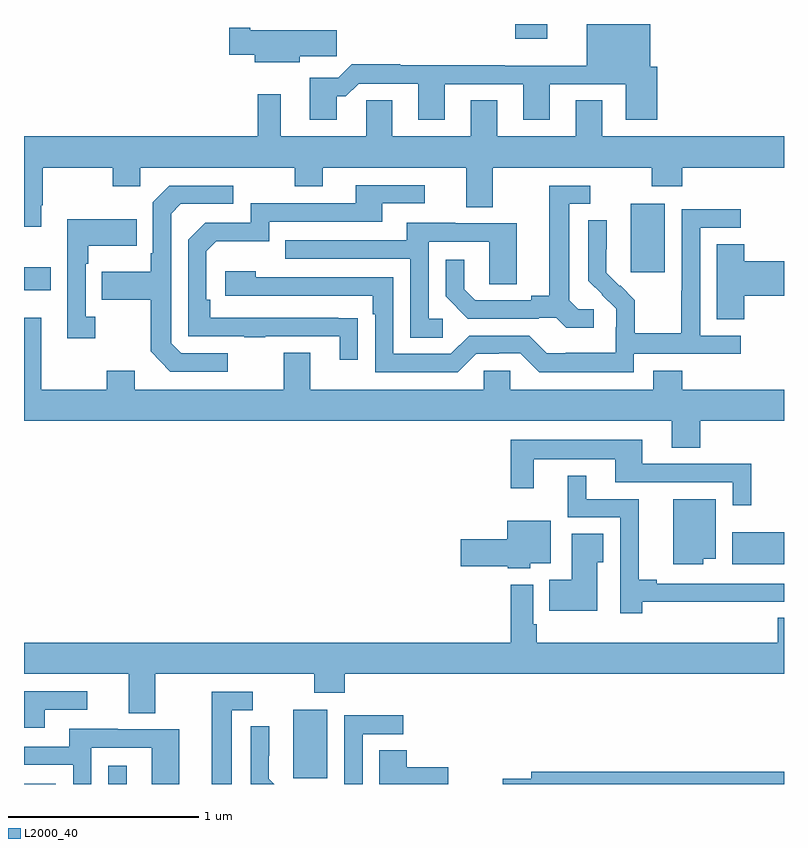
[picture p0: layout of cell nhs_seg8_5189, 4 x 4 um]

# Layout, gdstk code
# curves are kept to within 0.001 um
import gdstk
lib = gdstk.Library(unit=1e-6, precision=1e-09)
def R(c, l, rs):  # rectangles x0, y0, x1, y1
    for r in rs: c.add(gdstk.rectangle(r[:2], r[2:], *l))
def P(c, l, *ps):  # polygons
    for p in ps: c.add(gdstk.Polygon(p, *l))
L2000_40 = (2000, 40)

nhs_seg8_5189 = lib.new_cell('nhs_seg8_5189')
R(nhs_seg8_5189, L2000_40, [(423,1135.9,423.168,1135.902), (423.444,1135.9,423.541,1135.996), (424.418,1135.929,424.597,1136.29), (426.728,1137.056,427,1137.226), (423,1138.499,423.142,1138.621), (426.194,1138.593,426.373,1138.954), (425.585,1139.823,425.755,1139.9)])
P(nhs_seg8_5189, L2000_40, [(424.645,1139.519),(424.694,1139.519),(424.761,1139.586),(425.075,1139.586),(425.075,1139.397),(425.215,1139.397),(425.215,1139.583),(425.627,1139.583),(425.627,1139.397),(425.767,1139.397),(425.767,1139.583),(426.167,1139.583),(426.167,1139.397),(426.332,1139.397),(426.332,1139.676),(426.295,1139.676),(426.295,1139.9),(425.963,1139.9),(425.963,1139.68),(425.531,1139.68),(425.531,1139.684),(424.979,1139.684),(424.979,1139.687),(424.724,1139.687),(424.654,1139.617),(424.505,1139.617),(424.505,1139.397),(424.645,1139.397)],
  [(424.45,1139.731),(424.645,1139.731),(424.645,1139.866),(424.192,1139.866),(424.192,1139.879),(424.08,1139.879),(424.08,1139.737),(424.214,1139.737),(424.214,1139.699),(424.45,1139.699)],
  [(423.091,1138.945),(423.099,1138.945),(423.099,1139.144),(423.466,1139.144),(423.466,1139.045),(423.612,1139.045),(423.612,1139.144),(424.426,1139.144),(424.426,1139.045),(424.573,1139.045),(424.573,1139.144),(425.327,1139.144),(425.327,1138.936),(425.467,1138.936),(425.467,1139.144),(426.304,1139.144),(426.304,1139.045),(426.464,1139.045),(426.464,1139.144),(427,1139.144),(427,1139.308),(426.043,1139.308),(426.043,1139.498),(425.903,1139.498),(425.903,1139.308),(425.491,1139.308),(425.491,1139.498),(425.351,1139.498),(425.351,1139.308),(424.939,1139.308),(424.939,1139.498),(424.8,1139.498),(424.8,1139.308),(424.351,1139.308),(424.351,1139.53),(424.23,1139.53),(424.23,1139.308),(423,1139.308),(423,1138.833),(423.091,1138.833)],
  [(424.757,1138.352),(423.98,1138.353),(423.98,1138.45),(423.96,1138.45),(423.96,1138.704),(424.013,1138.757),(424.29,1138.757),(424.29,1138.86),(424.885,1138.86),(424.885,1138.956),(425.11,1138.956),(425.11,1139.052),(424.745,1139.052),(424.745,1138.956),(424.194,1138.956),(424.194,1138.854),(423.954,1138.854),(423.864,1138.764),(423.864,1138.257),(424.159,1138.257),(424.159,1138.252),(424.271,1138.252),(424.271,1138.257),(424.661,1138.257),(424.661,1138.134),(424.757,1138.134)],
  [(424.072,1138.167),(423.828,1138.167),(423.774,1138.221),(423.774,1138.902),(423.825,1138.953),(424.102,1138.953),(424.102,1139.049),(423.765,1139.049),(423.678,1138.962),(423.678,1138.693),(423.666,1138.693),(423.666,1138.597),(423.409,1138.597),(423.409,1138.45),(423.666,1138.45),(423.666,1138.177),(423.771,1138.071),(424.072,1138.071)],
  [(425.998,1138.398),(425.916,1138.398),(425.869,1138.445),(425.869,1138.953),(425.98,1138.953),(425.98,1139.049),(425.765,1139.049),(425.765,1138.469),(425.669,1138.469),(425.669,1138.446),(425.374,1138.446),(425.317,1138.503),(425.317,1138.66),(425.22,1138.66),(425.22,1138.466),(425.336,1138.35),(425.708,1138.35),(425.708,1138.353),(425.802,1138.353),(425.854,1138.301),(425.998,1138.301)],
  [(426.21,1138.164),(426.772,1138.164),(426.772,1138.26),(426.558,1138.26),(426.558,1138.827),(426.772,1138.827),(426.772,1138.926),(426.462,1138.926),(426.462,1138.496),(426.46,1138.496),(426.46,1138.273),(426.215,1138.273),(426.215,1138.447),(426.138,1138.524),(426.135,1138.521),(426.065,1138.592),(426.066,1138.868),(425.97,1138.868),(425.97,1138.55),(426.116,1138.402),(426.116,1138.305),(426.114,1138.305),(426.114,1138.171),(425.851,1138.171),(425.851,1138.167),(425.751,1138.167),(425.658,1138.26),(425.343,1138.26),(425.247,1138.164),(424.944,1138.164),(424.944,1138.566),(424.22,1138.566),(424.22,1138.6),(424.059,1138.6),(424.059,1138.47),(424.835,1138.47),(424.835,1138.373),(424.848,1138.373),(424.848,1138.068),(425.283,1138.068),(425.379,1138.164),(425.498,1138.164),(425.498,1138.167),(425.613,1138.167),(425.713,1138.067),(426.21,1138.067)],
  [(423.376,1138.358),(423.324,1138.358),(423.324,1138.637),(423.337,1138.637),(423.337,1138.733),(423.593,1138.733),(423.593,1138.873),(423.228,1138.873),(423.228,1138.245),(423.376,1138.245)],
  [(425.203,1138.35),(425.13,1138.35),(425.13,1138.755),(425.448,1138.755),(425.448,1138.531),(425.593,1138.531),(425.593,1138.851),(425.269,1138.851),(425.269,1138.855),(425.015,1138.855),(425.015,1138.761),(424.375,1138.761),(424.375,1138.665),(425.034,1138.665),(425.034,1138.249),(425.203,1138.249)],
  [(426.791,1138.469),(427,1138.469),(427,1138.652),(426.791,1138.652),(426.791,1138.742),(426.647,1138.742),(426.647,1138.345),(426.791,1138.345)],
  [(426.558,1137.812),(427,1137.812),(427,1137.976),(426.464,1137.976),(426.464,1138.075),(426.311,1138.075),(426.311,1137.976),(425.559,1137.976),(425.559,1138.074),(425.421,1138.074),(425.421,1137.976),(424.507,1137.976),(424.507,1138.171),(424.367,1138.171),(424.367,1137.976),(423.583,1137.976),(423.583,1138.075),(423.436,1138.075),(423.436,1137.976),(423.091,1137.976),(423.091,1138.354),(423,1138.354),(423,1137.812),(426.41,1137.812),(426.41,1137.67),(426.558,1137.67)],
  [(426.827,1137.585),(426.253,1137.585),(426.253,1137.712),(425.562,1137.712),(425.562,1137.456),(425.683,1137.456),(425.683,1137.608),(426.113,1137.608),(426.113,1137.489),(426.729,1137.489),(426.729,1137.366),(426.827,1137.366)],
  [(426.254,1136.858),(426.884,1136.858),(426.884,1136.859),(427,1136.859),(427,1136.955),(426.331,1136.955),(426.331,1136.975),(426.236,1136.975),(426.236,1137.399),(425.959,1137.399),(425.959,1137.523),(425.861,1137.523),(425.861,1137.303),(426.138,1137.303),(426.138,1136.799),(426.254,1136.799)],
  [(426.574,1137.086),(426.64,1137.086),(426.64,1137.4),(426.416,1137.4),(426.416,1137.056),(426.574,1137.056)],
  [(425.664,1137.062),(425.773,1137.062),(425.773,1137.286),(425.543,1137.286),(425.543,1137.188),(425.298,1137.188),(425.298,1137.046),(425.547,1137.046),(425.547,1137.035),(425.664,1137.035)],
  [(426.016,1137.067),(426.049,1137.067),(426.049,1137.218),(425.882,1137.218),(425.882,1136.974),(425.764,1136.974),(425.764,1136.813),(426.016,1136.813)],
  [(423.691,1136.48),(424.528,1136.48),(424.528,1136.381),(424.688,1136.381),(424.688,1136.48),(427,1136.48),(427,1136.774),(426.968,1136.774),(426.968,1136.644),(425.699,1136.644),(425.699,1136.74),(425.679,1136.74),(425.679,1136.95),(425.563,1136.95),(425.563,1136.644),(423,1136.644),(423,1136.48),(423.551,1136.48),(423.551,1136.272),(423.691,1136.272)],
  [(423.109,1136.292),(423.334,1136.292),(423.334,1136.388),(423,1136.388),(423,1136.196),(423.109,1136.196)],
  [(424.093,1136.289),(424.204,1136.289),(424.204,1136.385),(423.989,1136.385),(423.989,1135.9),(424.093,1135.9)],
  [(424.782,1136.163),(424.996,1136.163),(424.996,1136.262),(424.686,1136.262),(424.686,1135.9),(424.782,1135.9)],
  [(424.289,1135.928),(424.289,1136.05),(424.29,1136.05),(424.29,1136.204),(424.194,1136.204),(424.194,1135.9),(424.317,1135.9)],
  [(423.354,1136.091),(423.672,1136.091),(423.672,1135.9),(423.817,1135.9),(423.817,1136.187),(423.493,1136.187),(423.493,1136.191),(423.239,1136.191),(423.239,1136.097),(423,1136.097),(423,1136.001),(423.258,1136.001),(423.258,1135.9),(423.354,1135.9)],
  [(425.233,1135.988),(425.015,1135.988),(425.015,1136.078),(424.871,1136.078),(424.871,1135.9),(425.233,1135.9)],
  [(427,1135.964),(425.669,1135.964),(425.669,1135.928),(425.52,1135.928),(425.52,1135.9),(427,1135.9)])

lib.write_gds('nhs_seg8_5189.gds')
